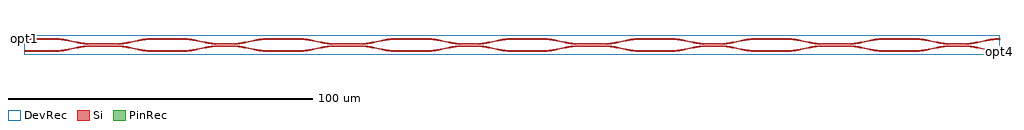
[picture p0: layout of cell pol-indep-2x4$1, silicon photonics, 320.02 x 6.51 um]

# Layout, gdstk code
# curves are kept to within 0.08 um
import gdstk
lib = gdstk.Library(unit=1e-6, precision=1e-09)
def R(c, l, rs):  # rectangles x0, y0, x1, y1
    for r in rs: c.add(gdstk.rectangle(r[:2], r[2:], *l))
def P(c, l, *ps):  # polygons
    for p in ps: c.add(gdstk.Polygon(p, *l))
Si = (1, 0)
PinRec = (1, 10)
DevRec = (68, 0)

layer_0_0_phase_sec_0_5 = lib.new_cell('layer-0_0_phase_sec_0$5')
P(layer_0_0_phase_sec_0_5, Si, [(0,-0.225),(0,0.225),(3.234,0.223),(8.086,0.223),(9.703,0.225),(10,0.225),(10,-0.225),(9.703,-0.225),(8.086,-0.223),(3.234,-0.223)])

layer_0_0_phase_sec_1_5 = lib.new_cell('layer-0_0_phase_sec_1$5')
P(layer_0_0_phase_sec_1_5, Si, [(0,-0.225),(0,0.225),(1.617,0.224),(8.084,0.224),(9.701,0.225),(10,0.225),(10,-0.225),(9.701,-0.225),(8.084,-0.224),(1.617,-0.224)])

layer_0_0_phase_sec_3_5 = lib.new_cell('layer-0_0_phase_sec_3$5')
P(layer_0_0_phase_sec_3_5, Si, [(0,-0.225),(0,0.225),(10,0.225),(10,-0.225)])

dc_arm_up_4_5 = lib.new_cell('dc_arm_up_4$5')
R(dc_arm_up_4_5, Si, [(12,0.1,16,0.55)])
P(dc_arm_up_4_5, Si, [(16,0.1),(16,0.55),(17.481,0.613),(18.966,0.793),(25.344,2.033),(26.861,2.188),(28,2.225),(28,1.775),(26.519,1.712),(25.034,1.532),(18.656,0.292),(17.139,0.137)],
  [(12,0.1),(10.861,0.137),(9.344,0.292),(2.966,1.532),(1.481,1.712),(0,1.775),(0,2.225),(1.139,2.188),(2.656,2.033),(9.034,0.793),(10.519,0.613),(12,0.55)])

dc_arm_down_4_5 = lib.new_cell('dc_arm_down_4$5')
R(dc_arm_down_4_5, Si, [(12,-0.55,16,-0.1)])
P(dc_arm_down_4_5, Si, [(28,-2.225),(26.861,-2.188),(25.344,-2.033),(18.966,-0.793),(17.481,-0.613),(16,-0.55),(16,-0.1),(17.139,-0.137),(18.656,-0.292),(25.034,-1.532),(26.519,-1.712),(28,-1.775)],
  [(0,-2.225),(0,-1.775),(1.481,-1.712),(2.966,-1.532),(9.344,-0.292),(10.861,-0.137),(12,-0.1),(12,-0.55),(10.519,-0.613),(9.034,-0.793),(2.656,-2.033),(1.139,-2.188)])

dc_4_5 = lib.new_cell('dc_4$5')
dc_4_5.add(gdstk.Reference(dc_arm_up_4_5, (0,0)))
dc_4_5.add(gdstk.Reference(dc_arm_down_4_5, (0,0)))

layer_1_0_phase_sec_0_5 = lib.new_cell('layer-1_0_phase_sec_0$5')
P(layer_1_0_phase_sec_0_5, Si, [(3.228,-0.23),(0,-0.225),(0,0.225),(10,0.225),(10,-0.225)])

layer_2_0_phase_sec_0_5 = lib.new_cell('layer-2_0_phase_sec_0$5')
P(layer_2_0_phase_sec_0_5, Si, [(0,-0.225),(0,0.225),(10,0.225),(10,-0.225)])

layer_2_0_phase_sec_1_5 = lib.new_cell('layer-2_0_phase_sec_1$5')
P(layer_2_0_phase_sec_1_5, Si, [(4.889,-0.252),(0,-0.225),(0,0.225),(10,0.225),(10,-0.225)])

dc_arm_up_8_5 = lib.new_cell('dc_arm_up_8$5')
R(dc_arm_up_8_5, Si, [(12,0.1,20,0.55)])
P(dc_arm_up_8_5, Si, [(20,0.1),(20,0.55),(21.481,0.613),(22.966,0.793),(29.344,2.033),(30.861,2.188),(32,2.225),(32,1.775),(30.519,1.712),(29.034,1.532),(22.656,0.292),(21.139,0.137)],
  [(12,0.1),(10.861,0.137),(9.344,0.292),(2.966,1.532),(1.481,1.712),(0,1.775),(0,2.225),(1.139,2.188),(2.656,2.033),(9.034,0.793),(10.519,0.613),(12,0.55)])

dc_arm_down_8_5 = lib.new_cell('dc_arm_down_8$5')
R(dc_arm_down_8_5, Si, [(12,-0.55,20,-0.1)])
P(dc_arm_down_8_5, Si, [(32,-2.225),(30.861,-2.188),(29.344,-2.033),(22.966,-0.793),(21.481,-0.613),(20,-0.55),(20,-0.1),(21.139,-0.137),(22.656,-0.292),(29.034,-1.532),(30.519,-1.712),(32,-1.775)],
  [(0,-2.225),(0,-1.775),(1.481,-1.712),(2.966,-1.532),(9.344,-0.292),(10.861,-0.137),(12,-0.1),(12,-0.55),(10.519,-0.613),(9.034,-0.793),(2.656,-2.033),(1.139,-2.188)])

dc_8_5 = lib.new_cell('dc_8$5')
dc_8_5.add(gdstk.Reference(dc_arm_up_8_5, (0,0)))
dc_8_5.add(gdstk.Reference(dc_arm_down_8_5, (0,0)))

layer_2_0_phase_sec_2_5 = lib.new_cell('layer-2_0_phase_sec_2$5')
P(layer_2_0_phase_sec_2_5, Si, [(3.235,-0.238),(0,-0.225),(0,0.225),(10,0.225),(10,-0.225)])

layer_0_0_phase_sec_2_5 = lib.new_cell('layer-0_0_phase_sec_2$5')
P(layer_0_0_phase_sec_2_5, Si, [(4.897,-0.255),(0,-0.225),(0,0.225),(10,0.225),(10,-0.225)])

layer_2_0_phase_sec_3_5 = lib.new_cell('layer-2_0_phase_sec_3$5')
P(layer_2_0_phase_sec_3_5, Si, [(0,-0.225),(0,0.225),(10,0.225),(10,-0.225)])

layer_3_0_phase_sec_0_5 = lib.new_cell('layer-3_0_phase_sec_0$5')
P(layer_3_0_phase_sec_0_5, Si, [(3.232,-0.238),(0,-0.225),(0,0.225),(10,0.225),(10,-0.225)])

layer_1_0_phase_sec_1_5 = lib.new_cell('layer-1_0_phase_sec_1$5')
P(layer_1_0_phase_sec_1_5, Si, [(4.832,-0.23),(0,-0.225),(0,0.225),(10,0.225),(10,-0.225)])

layer_3_0_phase_sec_1_5 = lib.new_cell('layer-3_0_phase_sec_1$5')
P(layer_3_0_phase_sec_1_5, Si, [(0,-0.225),(0,0.225),(10,0.225),(10,-0.225)])

layer_1_0_phase_sec_2_5 = lib.new_cell('layer-1_0_phase_sec_2$5')
P(layer_1_0_phase_sec_2_5, Si, [(4.858,-0.243),(0,-0.225),(0,0.225),(10,0.225),(10,-0.225)])

layer_3_0_phase_sec_2_5 = lib.new_cell('layer-3_0_phase_sec_2$5')
P(layer_3_0_phase_sec_2_5, Si, [(0,-0.225),(0,0.225),(10,0.225),(10,-0.225)])

layer_1_0_phase_sec_3_5 = lib.new_cell('layer-1_0_phase_sec_3$5')
P(layer_1_0_phase_sec_3_5, Si, [(0,-0.225),(0,0.225),(10,0.225),(10,-0.225)])

layer_3_0_phase_sec_3_5 = lib.new_cell('layer-3_0_phase_sec_3$5')
P(layer_3_0_phase_sec_3_5, Si, [(4.866,-0.248),(0,-0.225),(0,0.225),(10,0.225),(10,-0.225)])

pol_indep_2x4_1 = lib.new_cell('pol-indep-2x4$1')
R(pol_indep_2x4_1, DevRec, [(0,-1,320,5.507)])
pol_indep_2x4_1.add(gdstk.FlexPath([(319.99,0.252),(320.01,0.252)], 0.45, ends="flush", simple_path=True, layer=1, datatype=10))  # PinRec
pol_indep_2x4_1.add(gdstk.FlexPath([(319.99,4.252),(320.01,4.252)], 0.45, ends="flush", simple_path=True, layer=1, datatype=10))  # PinRec
pol_indep_2x4_1.add(gdstk.FlexPath([(0.01,0.252),(-0.01,0.252)], 0.45, ends="flush", simple_path=True, layer=1, datatype=10))  # PinRec
pol_indep_2x4_1.add(gdstk.FlexPath([(0.01,4.252),(-0.01,4.252)], 0.45, ends="flush", simple_path=True, layer=1, datatype=10))  # PinRec
pol_indep_2x4_1.add(gdstk.Reference(layer_0_0_phase_sec_0_5, (0,4.252)))
pol_indep_2x4_1.add(gdstk.Reference(layer_0_0_phase_sec_1_5, (0,0.252)))
pol_indep_2x4_1.add(gdstk.Reference(layer_0_0_phase_sec_3_5, (42,0.252)))
pol_indep_2x4_1.add(gdstk.Reference(dc_4_5, (52,2.252)))
pol_indep_2x4_1.add(gdstk.Reference(dc_4_5, (132,2.252)))
pol_indep_2x4_1.add(gdstk.Reference(dc_4_5, (212,2.252)))
pol_indep_2x4_1.add(gdstk.Reference(dc_4_5, (292,2.252)))
pol_indep_2x4_1.add(gdstk.Reference(layer_1_0_phase_sec_0_5, (80,4.252)))
pol_indep_2x4_1.add(gdstk.Reference(layer_2_0_phase_sec_0_5, (160,4.252)))
pol_indep_2x4_1.add(gdstk.Reference(layer_2_0_phase_sec_1_5, (160,0.252)))
pol_indep_2x4_1.add(gdstk.Reference(dc_8_5, (10,2.252)))
pol_indep_2x4_1.add(gdstk.Reference(dc_8_5, (90,2.252)))
pol_indep_2x4_1.add(gdstk.Reference(dc_8_5, (170,2.252)))
pol_indep_2x4_1.add(gdstk.Reference(dc_8_5, (250,2.252)))
pol_indep_2x4_1.add(gdstk.Reference(layer_2_0_phase_sec_2_5, (202,4.252)))
pol_indep_2x4_1.add(gdstk.Reference(layer_0_0_phase_sec_2_5, (42,4.252)))
pol_indep_2x4_1.add(gdstk.Reference(layer_2_0_phase_sec_3_5, (202,0.252)))
pol_indep_2x4_1.add(gdstk.Reference(layer_3_0_phase_sec_0_5, (240,4.252)))
pol_indep_2x4_1.add(gdstk.Reference(layer_1_0_phase_sec_1_5, (80,0.252)))
pol_indep_2x4_1.add(gdstk.Reference(layer_3_0_phase_sec_1_5, (240,0.252)))
pol_indep_2x4_1.add(gdstk.Reference(layer_1_0_phase_sec_2_5, (122,4.252)))
pol_indep_2x4_1.add(gdstk.Reference(layer_3_0_phase_sec_2_5, (282,4.252)))
pol_indep_2x4_1.add(gdstk.Reference(layer_1_0_phase_sec_3_5, (122,0.252)))
pol_indep_2x4_1.add(gdstk.Reference(layer_3_0_phase_sec_3_5, (282,0.252)))
pol_indep_2x4_1.add(gdstk.Label('opt4', (320,0.252), layer=1, texttype=10))
pol_indep_2x4_1.add(gdstk.Label('opt3', (320,4.252), layer=1, texttype=10))
pol_indep_2x4_1.add(gdstk.Label('opt1', (0,4.252), layer=1, texttype=10))
pol_indep_2x4_1.add(gdstk.Label('opt2', (0,0.25), layer=1, texttype=10))

lib.write_gds('pol-indep-2x4_1.gds')
